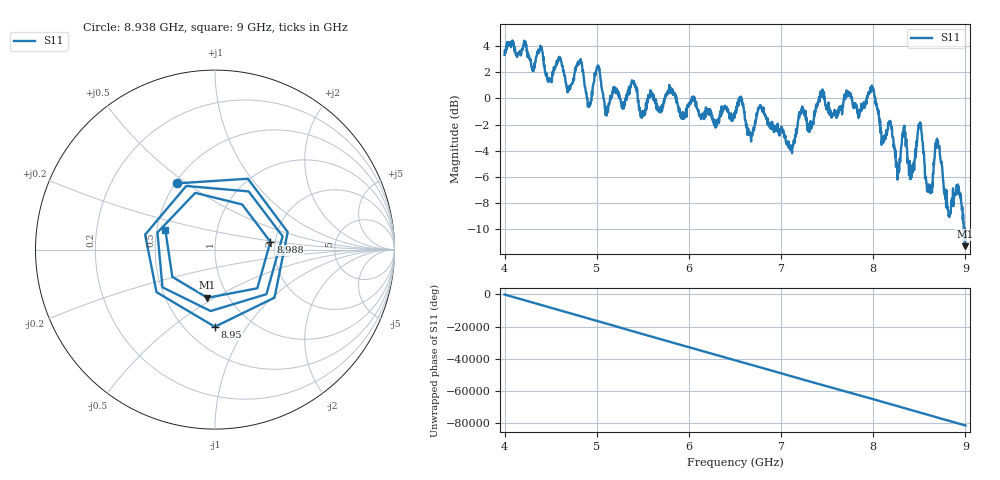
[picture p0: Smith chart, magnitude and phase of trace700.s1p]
! Created with skrf 1.8.0 (http://scikit-rf.org).
# Hz S RI R 50.0
!freq ReS11 ImS11
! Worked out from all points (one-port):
!   1601 points, 4 GHz to 9 GHz, reference 50 ohm
!   lowest |S11| = -11.3 dB at 8.994 GHz (marker M1), VSWR 1.75, Z = 39.9 - j23.2 ohm
!   |S11| at or under -10 dB: 8.982298 GHz to 8.989737 GHz (7.438 MHz wide, 0.0828 % of centre); 8.991192 GHz to end of sweep
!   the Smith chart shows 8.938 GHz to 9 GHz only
!   S11 on the Smith chart (normalised r, x): 8.938 GHz: 0.51, +0.46; 8.95 GHz: 0.69, -0.72; 8.988 GHz: 1.88, +0.18; 9 GHz: 0.56, +0.13
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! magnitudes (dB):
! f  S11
! 4 GHz  3.3
! 4.625 GHz  2.5
! 4.697 GHz  0.8
! 4.819 GHz  2.7
! 4.916 GHz  -0.6
! 5.009 GHz  2.5
! 5.1 GHz  -0.8
! 5.25 GHz  0.0
! 5.875 GHz  -0.3
! 6.5 GHz  -1.1
! 6.672 GHz  -3.0
! 6.784 GHz  -0.7
! 7.125 GHz  -3.7
! 7.219 GHz  -1.2
! 7.75 GHz  0.4
! 7.991 GHz  0.8
! 8.103 GHz  -3.2
! 8.375 GHz  -4.6
! 8.425 GHz  -5.1
! 8.506 GHz  -2.2
! 8.6 GHz  -6.6
! 8.697 GHz  -3.4
! 8.816 GHz  -8.7
! 8.938 GHz  -7.4
! 8.95 GHz  -7.3
! 8.988 GHz  -10.1
! 8.994 GHz  -11.3
! 9 GHz  -10.5
